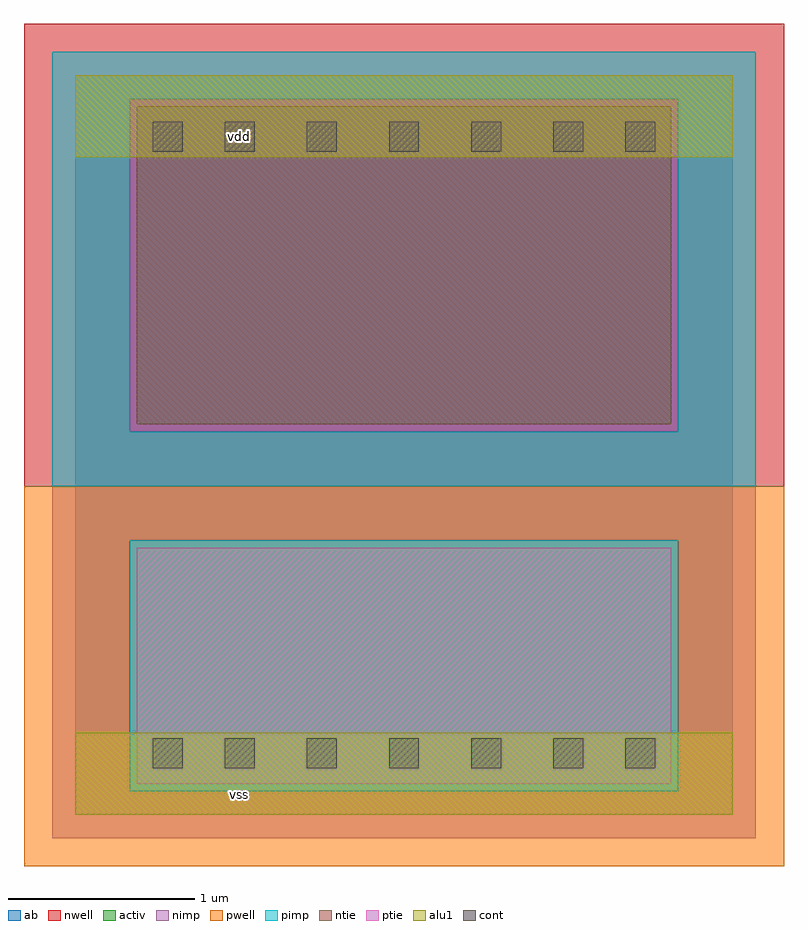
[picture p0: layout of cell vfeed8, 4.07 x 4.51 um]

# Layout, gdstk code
import gdstk
lib = gdstk.Library(unit=1e-6, precision=2.5e-09)
def R(c, l, rs):  # rectangles x0, y0, x1, y1
    for r in rs: c.add(gdstk.rectangle(r[:2], r[2:], *l))
def A(c, l, x, y, w, h, nx, ny, dx, dy):  # array of equal rectangles
    R(c, l, [(x+i*dx, y+j*dy, x+i*dx+w, y+j*dy+h) for i in range(nx) for j in range(ny)])
ntie = (5, 0)
ptie = (6, 0)
cont = (25, 0)
pwell = (41, 0)
nwell = (42, 0)
activ = (43, 0)
pimp = (44, 0)
nimp = (45, 0)
alu1 = (49, 0)
ab = (63, 0)

vfeed8 = lib.new_cell('vfeed8')
R(vfeed8, ntie, [(0.33,2.09,3.19,3.795)])
R(vfeed8, ptie, [(0.33,0.165,3.19,1.43)])
A(vfeed8, cont, 0.8, 0.25, 0.16, 0.16, 5, 2, 0.44, 3.3)
R(vfeed8, cont, [(0.415,0.25,0.575,0.41), (2.945,0.25,3.105,0.41), (0.415,3.55,0.575,3.71), (2.945,3.55,3.105,3.71)])
R(vfeed8, pwell, [(-0.275,-0.275,3.795,1.76)])
R(vfeed8, nwell, [(-0.275,1.76,3.795,4.235)])
R(vfeed8, activ, [(0.33,0.165,3.19,1.43), (0.33,2.09,3.19,3.795)])
R(vfeed8, pimp, [(0.29,0.125,3.23,1.47), (-0.125,1.76,3.645,2.05), (-0.125,2.05,0.29,3.835), (3.23,2.05,3.645,3.835), (-0.125,3.835,3.645,4.085)])
R(vfeed8, nimp, [(-0.125,-0.125,3.645,0.125), (-0.125,0.125,0.29,1.47), (3.23,0.125,3.645,1.47), (-0.125,1.47,3.645,1.76), (0.29,2.05,3.23,3.835)])
R(vfeed8, alu1, [(0,0,3.52,0.44), (0,3.52,3.52,3.96)])
R(vfeed8, ab, [(0,0,3.52,3.96)])
vfeed8.add(gdstk.Label('vss', (0.88,0.11), layer=49, texttype=0))
vfeed8.add(gdstk.Label('vdd', (0.88,3.63), layer=49, texttype=0))

lib.write_gds('vfeed8.gds')
